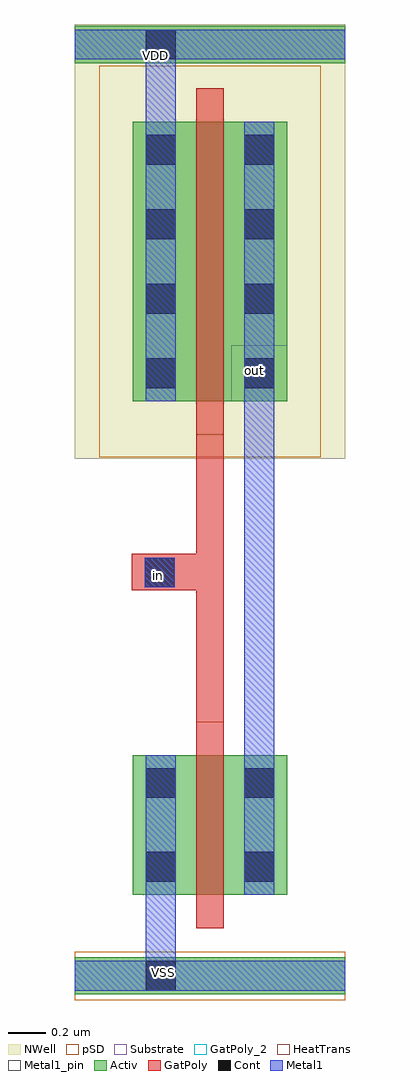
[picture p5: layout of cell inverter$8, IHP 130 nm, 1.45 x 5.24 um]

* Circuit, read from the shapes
.subckt inverter$8 VDD VSS in out
XM1 out in VSS VSS sg13_lv_nmos w=0.75u l=0.15u
XM2 out in VDD VDD sg13_lv_pmos w=1.5u l=0.15u
.ends

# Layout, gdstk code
import gdstk
lib = gdstk.Library(unit=1e-6, precision=5e-09)
def R(c, l, rs):  # rectangles x0, y0, x1, y1
    for r in rs: c.add(gdstk.rectangle(r[:2], r[2:], *l))
def A(c, l, x, y, w, h, nx, ny, dx, dy):  # array of equal rectangles
    R(c, l, [(x+i*dx, y+j*dy, x+i*dx+w, y+j*dy+h) for i in range(nx) for j in range(ny)])
Activ = (1, 0)
GatPoly = (5, 0)
GatPoly_2 = (5, 2)
Cont = (6, 0)
Metal1 = (8, 0)
Metal1_pin = (8, 2)
pSD = (14, 0)
NWell = (31, 0)
Substrate = (40, 0)
HeatTrans = (51, 0)

nmos_10 = lib.new_cell('nmos$10')
R(nmos_10, Activ, [(0,0,0.3,0.3), (0,0,0.83,0.75), (0.53,0,0.83,0.3)])
R(nmos_10, GatPoly, [(0.34,-0.18,0.49,0.93)])
R(nmos_10, GatPoly_2, [(0.34,-0.18,0.49,0.93)])
R(nmos_10, Cont, [(0.07,0.07,0.23,0.23), (0.6,0.07,0.76,0.23), (0.07,0.52,0.23,0.68), (0.6,0.52,0.76,0.68)])
R(nmos_10, Metal1, [(0.07,0,0.23,0.75), (0.6,0,0.76,0.75)])
R(nmos_10, Metal1_pin, [(0.07,0,0.23,0.75), (0.6,0,0.76,0.75)])
R(nmos_10, HeatTrans, [(0.34,-0.18,0.49,0.93)])
nmos_10.add(gdstk.Label('nmos', (0.415,0.375), layer=63, texttype=0))
nmos_10.add(gdstk.Label('nmos', (0.415,0.375), layer=51, texttype=0))

pmos_1_18 = lib.new_cell('pmos$1$18')
R(pmos_1_18, Activ, [(0,0,0.3,0.3), (0,0,0.83,1.5), (0.53,0,0.83,0.3)])
R(pmos_1_18, GatPoly, [(0.34,-0.18,0.49,1.68), (0.34,-0.18,0.49,1.68)])
A(pmos_1_18, Cont, 0.07, 0.07, 0.16, 0.16, 1, 4, 0, 0.4)
A(pmos_1_18, Cont, 0.6, 0.07, 0.16, 0.16, 1, 4, 0, 0.4)
R(pmos_1_18, Metal1, [(0.07,0,0.23,1.5), (0.07,0,0.23,1.5), (0.6,0,0.76,1.5), (0.6,0,0.76,1.5)])
R(pmos_1_18, pSD, [(-0.18,-0.3,1.01,1.8)])
R(pmos_1_18, NWell, [(-0.31,-0.31,1.14,1.81)])
R(pmos_1_18, Substrate, [(0.53,0,0.83,0.3)])
R(pmos_1_18, HeatTrans, [(0.34,-0.18,0.49,1.68)])
pmos_1_18.add(gdstk.Label('pmos', (0.415,0.75), layer=63, texttype=0))
pmos_1_18.add(gdstk.Label('pmos', (0.415,0.75), layer=51, texttype=0))

inverter_8 = lib.new_cell('inverter$8')
R(inverter_8, Activ, [(-0.46,-0.1,0.99,0.1), (-0.46,4.9,0.99,5.1)])
R(inverter_8, GatPoly, [(0.19,1.365,0.34,2.965), (-0.155,2.07,0.145,2.265), (0.145,2.07,0.19,2.265)])
R(inverter_8, Cont, [(-0.08,-0.08,0.08,0.08), (-0.085,2.085,0.075,2.245), (-0.08,4.92,0.08,5.08)])
R(inverter_8, Metal1, [(-0.46,-0.08,0.99,0.08), (-0.08,-0.08,0.08,0.08), (-0.08,0.08,0.08,0.435), (0.45,0.96,0.61,3.37), (-0.085,2.085,0.075,2.245), (-0.08,4.585,0.08,4.92), (-0.46,4.92,-0.08,5.08), (-0.08,4.92,0.08,5.08), (0.08,4.92,0.99,5.08)])
R(inverter_8, Metal1_pin, [(-0.46,-0.08,0.99,0.08), (-0.08,-0.08,0.08,0.08), (-0.085,2.085,0.075,2.245), (0.45,3.155,0.61,3.315), (-0.46,4.92,0.99,5.08), (-0.08,4.92,0.08,5.08)])
R(inverter_8, pSD, [(-0.46,-0.13,0.99,0.13)])
R(inverter_8, NWell, [(-0.46,4.895,0.99,5.11)])
inverter_8.add(gdstk.Reference(nmos_10, (-0.15,0.435)))
inverter_8.add(gdstk.Reference(pmos_1_18, (-0.15,3.085)))
inverter_8.add(gdstk.Label('out', (0.505,3.25), layer=8, texttype=2))
inverter_8.add(gdstk.Label('VSS', (0.015,0.015), layer=8, texttype=2))
inverter_8.add(gdstk.Label('VDD', (-0.025,4.94), layer=8, texttype=2))
inverter_8.add(gdstk.Label('in', (-0.01,2.15), layer=8, texttype=2))

lib.write_gds('inverter_8.gds')
